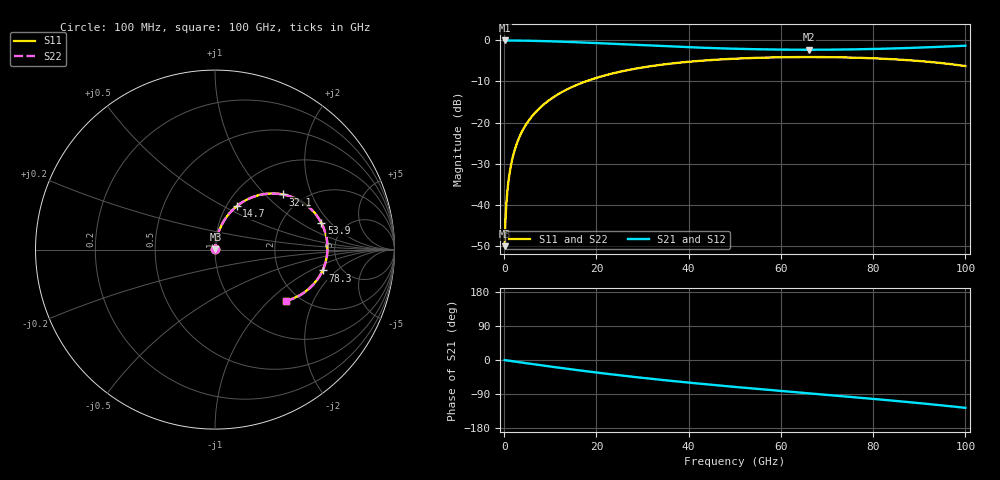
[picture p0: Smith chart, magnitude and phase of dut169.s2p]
! Touchstone file exported from HFSS 2026.1.0
!  File:  C:/ffzhzh/LocalFiles/Ansys_Project_Files/temp_train_RDL_169_1783500208_41296.aedt
!  Generated:  04:44:44 PM Jul  8, 2026
!  Design:  RDL
!  Project:  temp_train_RDL_169_1783500208_41296
! Variables:
!  h_bsmrdl = 2um
!  h_ox = 20um
!  h_rdl = 5um
!  h_sub = 80um
!  h_tmrdl = 4.39um
!  h_tsv = 80um
!  h_via = 3um
!  l_bsmrdl = 300um
!  l_sub = 838.93um
!  l_tmrdl = 438.93um
!  m_sub = 200um
!  pitch = 48.4um
!  r_tsv = 6um
!  s_tmrdl = 10um
!  w_bsmrdl = 18um
!  w_sub = 500um
!  w_tmrdl = 16.39um
!  x_tsv_center1 = 447.125um
!  x_tsv_center2 = 765.125um
!  x_tsv_center3 = 1220.445um
!  x_tsv_center4 = 1538.445um
!  x_tsv_center5 = 1993.765um
!  x_tsv_center6 = 2311.765um
# GHz S MA R 50.000000
! Terminal data exported
! Port[1] = TM_RDL1_1_T1
! Port[2] = TM_RDL1_1_T2
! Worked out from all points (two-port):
!   1000 points, 100 MHz to 100 GHz, reference 50 ohm
!   highest |S21| = -0.02 dB at 100 MHz (marker M1); lowest = -2.3 dB at 66 GHz (marker M2)
!   |S21| within 3 dB of the highest: start of sweep to end of sweep
!   lowest |S11| = -50.1 dB at 100 MHz (marker M3), VSWR 1.01, Z = 50.2 + j0.215 ohm
!   |S11| at or under -10 dB: start of sweep to 17.67 GHz
!   |S22| runs from -50.1 to -4.1 dB; largest |S21 - S12| = 1.5e-14
!   S11 on the Smith chart (normalised r, x): 100 MHz: 1.00, +0.00; 14.7 GHz: 1.12, +0.58; 32.1 GHz: 1.59, +1.28; 53.9 GHz: 3.33, +1.58; 78.3 GHz: 3.61, -1.33; 100 GHz: 1.71, -1.27
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0.1  0.003127 43.2  0.9977 -0.2  0.9977 -0.2  0.003127 43.2
! Gamma 0 0 0 0
! Port Impedance 50 0 50 0
0.4  0.008703 72.7  0.9975 -0.7  0.9975 -0.7  0.0087 72.7
0.8  0.01663 79.3  0.9972 -1.4  0.9972 -1.4  0.01663 79.3
1.3  0.02661 81.5  0.9968 -2.3  0.9968 -2.3  0.02661 81.5
1.7  0.03461 82.0  0.9964 -3.0  0.9964 -3.0  0.03461 82.0
2.3  0.04658 81.9  0.9957 -4.1  0.9957 -4.1  0.04658 81.9
3.6  0.07225 80.5  0.9935 -6.4  0.9935 -6.4  0.07225 80.5
5.5  0.1089 77.7  0.9891 -9.7  0.9891 -9.7  0.1089 77.7
7.9  0.1536 74.0  0.982 -13.7  0.982 -13.7  0.1536 74.0
11  0.2089 69.1  0.9706 -18.9  0.9706 -18.9  0.2089 69.1
14.7  0.2705 63.4  0.9543 -24.9  0.9543 -24.9  0.2705 63.4
16.8  0.3032 60.2  0.9441 -28.1  0.9441 -28.1  0.3032 60.2
23.7  0.3982 50.2  0.9075 -38.4  0.9075 -38.4  0.3982 50.1
32.1  0.488 39.0  0.8626 -49.9  0.8626 -49.9  0.4881 38.9
33.4  0.4995 37.3  0.856 -51.6  0.856 -51.6  0.4996 37.3
50.1  0.599 18.1  0.7907 -71.1  0.7907 -71.1  0.599 18.0
53.9  0.6109 14.1  0.7818 -75.2  0.7818 -75.2  0.6109 14.0
66  0.6269 1.7  0.7694 -87.8  0.7694 -87.8  0.627 1.5
66.7  0.6269 1.0  0.7694 -88.5  0.7694 -88.5  0.6269 0.8
78.3  0.6105 -11.0  0.7819 -100.7  0.7819 -100.7  0.6106 -11.1
83.4  0.5934 -16.4  0.7944 -106.3  0.7944 -106.3  0.5935 -16.6
100  0.4866 -35.8  0.8609 -126.2  0.8609 -126.2  0.4867 -36.1
